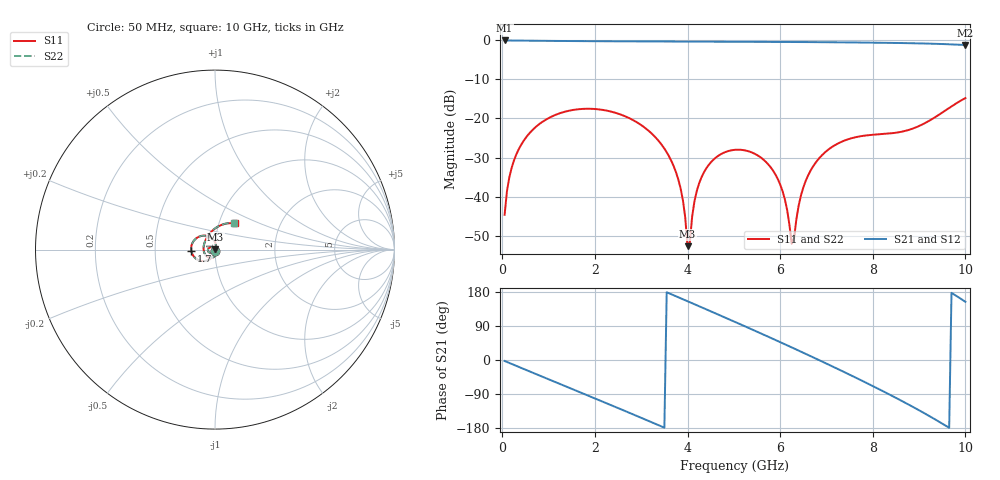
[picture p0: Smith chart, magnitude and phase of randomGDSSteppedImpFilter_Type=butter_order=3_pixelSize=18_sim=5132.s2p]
! freq	dB(S11)	phase(S11)	dB(S12)	phase(S12)
!  dB(S21)	phase(S21)	dB(S22)	phase(S22)
!S-par simulation data
#  GHz  S  DB  R 50
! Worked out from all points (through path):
!   200 points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, 50 MHz to 10 GHz, reference 50 ohm
!   highest |S21| = 0.00 dB at 50 MHz (marker M1); lowest = -1.2 dB at 10 GHz (marker M2)
!   group delay of S21, straight-line fit = 154 ps
!   lowest |S11| = -52.7 dB at 4 GHz (marker M3), VSWR 1.00, Z = 50.2 + j0.0619 ohm
!   |S11| at or under -10 dB: start of sweep to end of sweep
!   |S22| runs from -54.1 to -14.8 dB; largest |S21 - S12| = 0
!   S11 on the Smith chart (normalised r, x): 50 MHz: 1.00, -0.01; 1.7 GHz: 0.77, -0.01; 10 GHz: 1.19, +0.36
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0.05  -44.69 -91.8  -0.00 -2.6  -0.00 -2.6  -44.69 -91.8
0.2  -32.72 -99.9  -0.02 -10.3  -0.02 -10.3  -32.72 -99.9
0.5  -25.06 -115.8  -0.05 -25.6  -0.05 -25.6  -25.06 -115.8
1.7  -17.57 -177.3  -0.18 -86.3  -0.18 -86.3  -17.57 -177.2
1.75  -17.53 -179.8  -0.18 -88.8  -0.18 -88.8  -17.53 -179.7
2.5  -18.75 141.9  -0.21 -126.8  -0.21 -126.8  -18.75 142.1
3.4  -26.10 94.3  -0.23 -173.3  -0.23 -173.3  -26.10 94.9
3.85  -37.89 65.1  -0.25 163.0  -0.25 163.0  -37.93 67.4
3.95  -45.34 49.2  -0.26 157.8  -0.26 157.8  -45.56 54.5
4  -52.72 15.5  -0.27 155.1  -0.27 155.1  -54.14 24.9
4.15  -41.18 -112.4  -0.28 147.2  -0.28 147.2  -41.26 -115.6
4.3  -35.11 -125.9  -0.29 139.2  -0.29 139.2  -35.13 -127.4
5.05  -28.01 -169.7  -0.34 99.1  -0.34 99.1  -28.01 -170.2
5.9  -34.40 139.2  -0.38 52.8  -0.38 52.8  -34.38 139.1
6.1  -40.64 120.5  -0.39 41.6  -0.39 41.6  -40.61 120.7
6.25  -52.07 59.2  -0.40 33.2  -0.40 33.2  -52.25 60.6
6.45  -39.70 -52.1  -0.41 22.0  -0.41 22.0  -39.75 -52.8
6.7  -32.49 -73.9  -0.42 7.8  -0.42 7.8  -32.51 -74.4
7.45  -25.39 -122.5  -0.50 -35.7  -0.50 -35.7  -25.39 -122.7
8.35  -23.86 174.9  -0.62 -90.4  -0.62 -90.4  -23.86 175.1
9.3  -20.01 103.0  -0.84 -153.4  -0.84 -153.4  -20.03 103.8
10  -14.76 53.1  -1.18 153.6  -1.18 153.6  -14.78 53.8
